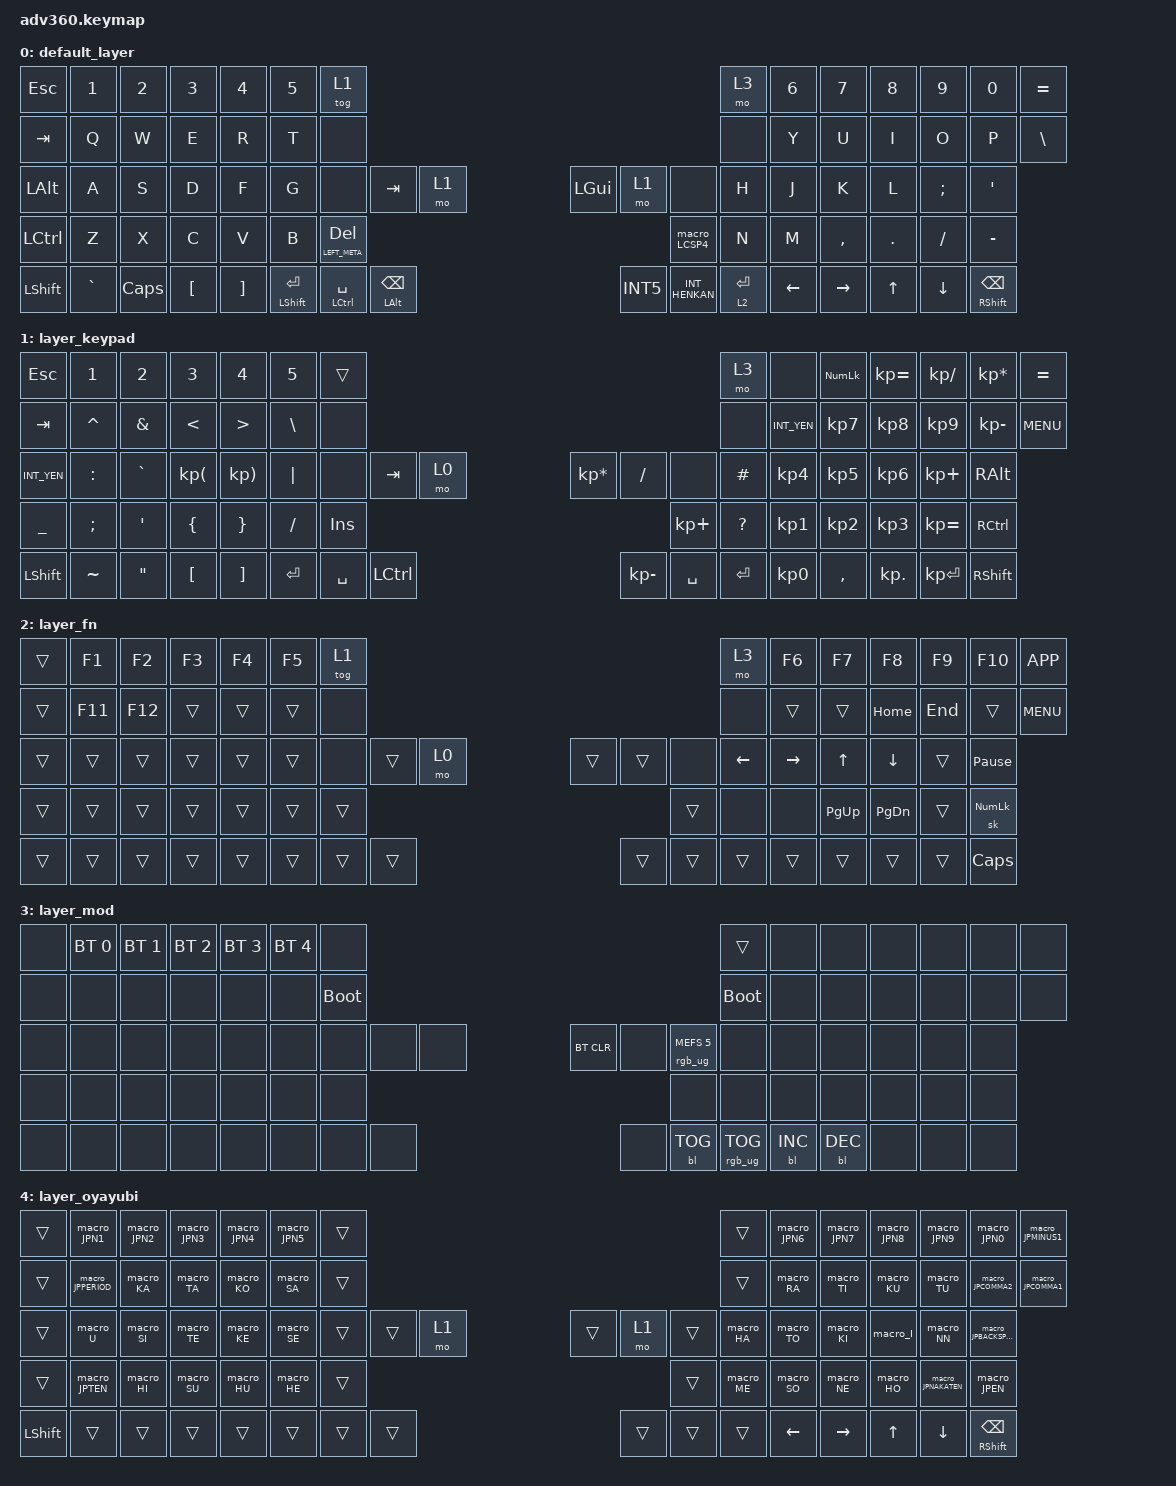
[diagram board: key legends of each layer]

/*
 * Copyright (c) 2020 The ZMK Contributors
 *
 * SPDX-License-Identifier: MIT
 */


/* THIS FILE WAS GENERATED!
 *
 * This file was generated automatically. You may or may not want to
 * edit it directly.
 */

#include <behaviors.dtsi>
#include <dt-bindings/zmk/keys.h>
#include <dt-bindings/zmk/bt.h>
#include <dt-bindings/zmk/rgb.h>
#include <dt-bindings/zmk/backlight.h>

/ {
#include "combos.keymap"
  behaviors {
    #include "macros.dtsi"
    #include "version.dtsi"

    hm: homerow_mods {
        compatible = "zmk,behavior-hold-tap";
        label = "HOMEROW_MODS";
        #binding-cells = <2>;
        tapping-term-ms = <200>;
        quick_tap_ms = <175>;
        flavor = "tap-preferred";
        bindings = <&kp>, <&kp>;
    };
  };

    keymap {
        compatible = "zmk,keymap";


        default_layer {
            bindings = <
        &kp ESC     &kp N1    &kp N2            &kp N3             &kp N4  &kp N5                          &tog 1                                                                                             &mo 3  &kp N6    &kp N7     &kp N8   &kp N9    &kp N0       &kp EQUAL
        &kp TAB      &kp Q     &kp W             &kp E              &kp R   &kp T                           &none                                                                                             &none   &kp Y     &kp U      &kp I    &kp O     &kp P        &kp BSLH
   &kp LEFT_ALT      &kp A     &kp S             &kp D              &kp F   &kp G                           &none          &kp TAB                 &mo 1                      &kp LGUI           &mo 1        &none   &kp H     &kp J      &kp K    &kp L  &kp SEMI         &kp SQT
      &kp LCTRL      &kp Z     &kp X             &kp C              &kp V   &kp B                                                   &mt LEFT_META DELETE                  &macro_LCSP4                                &kp N     &kp M  &kp COMMA  &kp DOT  &kp FSLH       &kp MINUS
 &kp LEFT_SHIFT  &kp GRAVE  &kp CAPS  &kp LEFT_BRACKET  &kp RIGHT_BRACKET                    &mt LEFT_SHIFT ENTER  &mt LCTRL SPACE         &mt LALT BSPC                      &kp INT5  &kp INT_HENKAN  &lt 2 ENTER          &kp LEFT  &kp RIGHT   &kp UP  &kp DOWN  &mt RSHFT BSPC
            >;
        };

        layer_keypad {
            bindings = <
     &kp ESC         &kp N1             &kp N2            &kp N3             &kp N4         &kp N5               &trans                                                                        &mo 3         &none  &kp KP_NUM  &kp KP_EQUAL  &kp KP_DIVIDE  &kp KP_MULTIPLY   &kp EQUAL
     &kp TAB      &kp CARET      &kp AMPERSAND     &kp LESS_THAN   &kp GREATER_THAN  &kp BACKSLASH                &none                                                                        &none   &kp INT_YEN   &kp KP_N7     &kp KP_N8      &kp KP_N9     &kp KP_MINUS  &kp C_MENU
 &kp INT_YEN      &kp COLON          &kp GRAVE       &kp KP_LPAR        &kp KP_RPAR       &kp PIPE                &none    &kp TAB      &mo 0                  &kp KP_ASTERISK  &kp SLASH      &none     &kp POUND   &kp KP_N4     &kp KP_N5      &kp KP_N6      &kp KP_PLUS    &kp RALT
   &kp UNDER  &kp SEMICOLON   &kp SINGLE_QUOTE    &kp LEFT_BRACE    &kp RIGHT_BRACE      &kp SLASH                                    &kp INS                      &kp KP_PLUS                        &kp QUESTION   &kp KP_N1     &kp KP_N2      &kp KP_N3     &kp KP_EQUAL   &kp RCTRL
  &kp LSHIFT      &kp TILDE  &kp DOUBLE_QUOTES  &kp LEFT_BRACKET  &kp RIGHT_BRACKET                           &kp ENTER  &kp SPACE  &kp LCTRL                     &kp KP_MINUS  &kp SPACE  &kp ENTER                 &kp KP_N0     &kp COMMA     &kp KP_DOT     &kp KP_ENTER  &kp RSHIFT
            >;
        };

        layer_fn {
            bindings = <
 &trans   &kp F1   &kp F2  &kp F3  &kp F4  &kp F5            &tog 1                                                   &mo 3    &kp F6     &kp F7     &kp F8     &kp F9  &kp F10        &kp K_APP
 &trans  &kp F11  &kp F12  &trans  &trans  &trans             &none                                                   &none    &trans     &trans   &kp HOME    &kp END   &trans       &kp K_MENU
 &trans   &trans   &trans  &trans  &trans  &trans             &none  &trans   &mo 0                  &trans  &trans   &none  &kp LEFT  &kp RIGHT     &kp UP   &kp DOWN   &trans  &kp PAUSE_BREAK
 &trans   &trans   &trans  &trans  &trans  &trans                            &trans                  &trans                     &none      &none  &kp PG_UP  &kp PG_DN   &trans   &sk KP_NUMLOCK
 &trans   &trans   &trans  &trans  &trans                    &trans  &trans  &trans                  &trans  &trans  &trans               &trans     &trans     &trans   &trans     &kp CAPSLOCK
            >;
        };

        layer_mod {
            bindings = <
  &none  &bt BT_SEL 0  &bt BT_SEL 1  &bt BT_SEL 2  &bt BT_SEL 3  &bt BT_SEL 4                  &none                                                                          &trans   &none       &none       &none   &none   &none   &none
  &none         &none         &none         &none         &none         &none            &bootloader                                                                     &bootloader   &none       &none       &none   &none   &none   &none
  &none         &none         &none         &none         &none         &none                  &none   &none   &none                  &bt BT_CLR       &none  &rgb_ug RGB_MEFS_CMD 5   &none       &none       &none   &none   &none   &none
  &none         &none         &none         &none         &none         &none                                  &none                       &none                                       &none       &none       &none   &none   &none   &none
  &none         &none         &none         &none         &none                                &none   &none   &none                       &none  &bl BL_TOG         &rgb_ug RGB_TOG          &bl BL_INC  &bl BL_DEC   &none   &none   &none
            >;
        };

        layer_oyayubi {
            bindings = <
         &trans      &macro_JPN1  &macro_JPN2  &macro_JPN3  &macro_JPN4  &macro_JPN5            &trans                                                  &trans  &macro_JPN6  &macro_JPN7  &macro_JPN8  &macro_JPN9       &macro_JPN0     &macro_JPMINUS1
         &trans  &macro_JPPERIOD    &macro_KA    &macro_TA    &macro_KO    &macro_SA            &trans                                                  &trans    &macro_RA    &macro_TI    &macro_KU    &macro_TU   &macro_JPCOMMA2     &macro_JPCOMMA1
         &trans         &macro_U    &macro_SI    &macro_TE    &macro_KE    &macro_SE            &trans  &trans   &mo 1                  &trans   &mo 1  &trans    &macro_HA    &macro_TO    &macro_KI     &macro_I         &macro_NN  &macro_JPBACKSPACE
         &trans     &macro_JPTEN    &macro_HI    &macro_SU    &macro_HU    &macro_HE                            &trans                  &trans                    &macro_ME    &macro_SO    &macro_NE    &macro_HO  &macro_JPNAKATEN         &macro_JPEN
 &kp LEFT_SHIFT           &trans       &trans       &trans       &trans                         &trans  &trans  &trans                  &trans  &trans  &trans                  &kp LEFT    &kp RIGHT       &kp UP          &kp DOWN      &mt RSHFT BSPC
            >;
        };

    };
};
